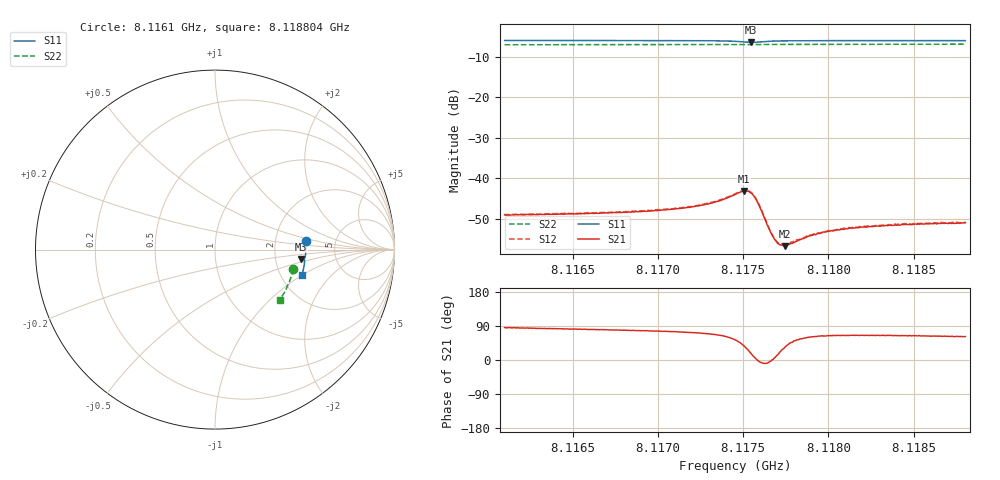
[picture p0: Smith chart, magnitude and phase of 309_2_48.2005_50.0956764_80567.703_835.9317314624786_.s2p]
#  HZ  S  RI  R  50.00
! Rohde & Schwarz Vector Network Analyzer
! Rohde-Schwarz,ZNB20-2Port,1311601062101988,3.16
! Created: UTC 3/20/2024, 11:49:54 AM
! freq[Hz]  re:S11  im:S11  re:S21  im:S21  re:S12  im:S12  re:S22  im:S22
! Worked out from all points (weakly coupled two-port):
!   401 points, 8.1161 GHz to 8.118804 GHz, reference 50 ohm
!   highest |S21| = -43.13 dB at 8.117506 GHz (marker M1); lowest = -56.8 dB at 8.117743 GHz (marker M2)
!   lowest |S11| = -6.4 dB at 8.117547 GHz (marker M3), VSWR 2.85, Z = 139 - j19.1 ohm
!   |S11| at or under -10 dB: nowhere
!   |S22| runs from -7.0 to -6.8 dB; largest |S21 - S12| = 0.00017
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8.1161002e9  0.5047 0.0506  0.000269 0.00352  0.000337 0.00356  0.4355 -0.1083
8.1165531e9  0.5062 0.0166  0.000575 0.00361  0.000613 0.00366  0.4281 -0.1388
8.117006e9  0.5052 -0.0185  0.000972 0.00391  0.00107 0.00396  0.4184 -0.1688
8.1171548e9  0.504 -0.0307  0.00123 0.00411  0.00128 0.00418  0.4147 -0.1786
8.1172562e9  0.5025 -0.0395  0.00156 0.00439  0.00158 0.00445  0.4121 -0.1853
8.1173441e9  0.5001 -0.0478  0.00204 0.00473  0.00213 0.0048  0.4097 -0.191
8.1174522e9  0.4918 -0.0587  0.00377 0.00506  0.0039 0.00513  0.4064 -0.198
8.1175063e9  0.4827 -0.0599  0.0056 0.00417  0.00572 0.0042  0.4044 -0.2012
8.1175266e9  0.4792 -0.0572  0.00616 0.00319  0.00632 0.00321  0.4037 -0.2023
8.1175469e9  0.4775 -0.0528  0.00629 0.0019  0.00643 0.0019  0.4032 -0.2032
8.1175671e9  0.4787 -0.0485  0.00583 0.000689  0.00593 0.000644  0.4027 -0.2044
8.1175874e9  0.4822 -0.0456  0.00493 -0.000156  0.00502 -0.0002  0.4023 -0.2054
8.117655e9  0.4935 -0.0485  0.0023 -0.000176  0.00232 -0.000255  0.401 -0.2097
8.1176821e9  0.4959 -0.0517  0.00178 0.000149  0.00182 0.00012  0.4002 -0.2116
8.1177091e9  0.4972 -0.0549  0.00147 0.000463  0.00151 0.000432  0.3995 -0.2133
8.1177429e9  0.4983 -0.0588  0.00122 0.00078  0.00128 0.000843  0.3984 -0.2157
8.1177632e9  0.4988 -0.0611  0.00115 0.000982  0.0012 0.000969  0.3978 -0.2169
8.1179052e9  0.4986 -0.0746  0.000947 0.00173  0.000973 0.00175  0.3934 -0.2258
8.1179795e9  0.4981 -0.0809  0.000956 0.00193  0.000982 0.00197  0.3909 -0.2305
8.1180809e9  0.4968 -0.0893  0.000989 0.00213  0.00101 0.00216  0.3876 -0.2369
8.1183581e9  0.4924 -0.1106  0.00112 0.00238  0.00116 0.00242  0.3777 -0.2535
8.1188043e9  0.4838 -0.1432  0.00133 0.00249  0.00135 0.00251  0.3603 -0.2799
